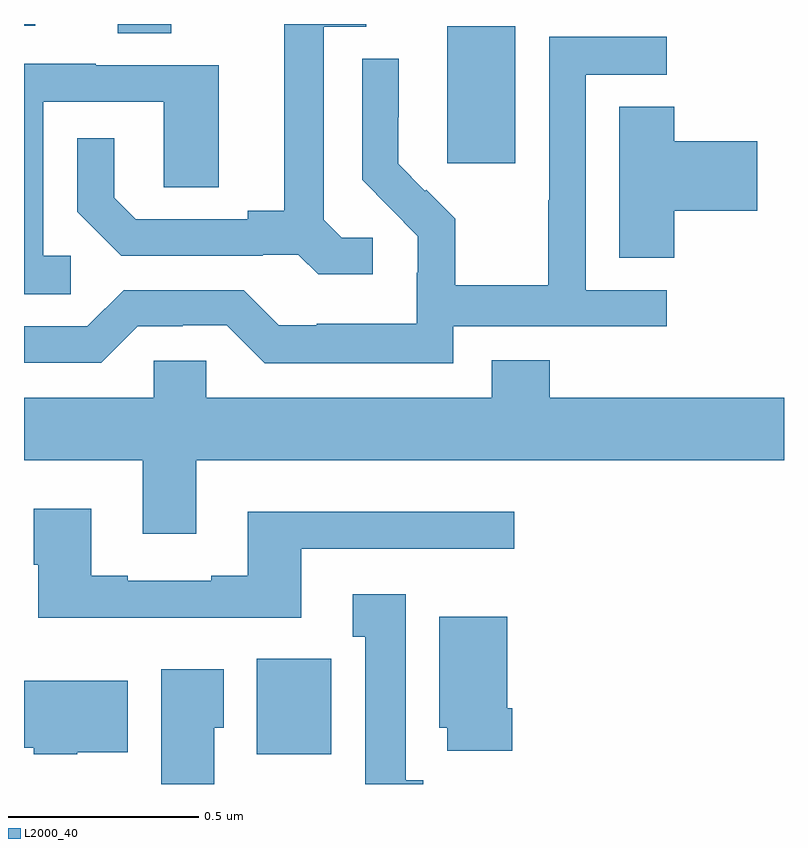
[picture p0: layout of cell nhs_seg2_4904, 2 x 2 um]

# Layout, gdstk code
import gdstk
lib = gdstk.Library(unit=1e-6, precision=1e-09)
def R(c, l, rs):  # rectangles x0, y0, x1, y1
    for r in rs: c.add(gdstk.rectangle(r[:2], r[2:], *l))
def P(c, l, *ps):  # polygons
    for p in ps: c.add(gdstk.Polygon(p, *l))
L2000_40 = (2000, 40)

nhs_seg2_4904 = lib.new_cell('nhs_seg2_4904')
R(nhs_seg2_4904, L2000_40, [(172.613,630.878,172.809,631.129), (173.114,632.433,173.293,632.794), (172.247,632.776,172.387,632.8), (172,632.796,172.03,632.8)])
P(nhs_seg2_4904, L2000_40, [(172.918,632.238),(172.836,632.238),(172.789,632.285),(172.789,632.793),(172.9,632.793),(172.9,632.8),(172.685,632.8),(172.685,632.309),(172.589,632.309),(172.589,632.286),(172.294,632.286),(172.237,632.343),(172.237,632.5),(172.14,632.5),(172.14,632.306),(172.256,632.19),(172.628,632.19),(172.628,632.193),(172.722,632.193),(172.774,632.141),(172.918,632.141)],
  [(173.13,632.004),(173.692,632.004),(173.692,632.1),(173.478,632.1),(173.478,632.667),(173.692,632.667),(173.692,632.766),(173.382,632.766),(173.382,632.336),(173.38,632.336),(173.38,632.113),(173.135,632.113),(173.135,632.287),(173.058,632.364),(173.055,632.361),(172.985,632.432),(172.985,632.554),(172.986,632.554),(172.986,632.708),(172.89,632.708),(172.89,632.39),(172.963,632.317),(172.962,632.316),(173.036,632.242),(173.036,632.145),(173.034,632.145),(173.034,632.011),(172.771,632.011),(172.771,632.007),(172.671,632.007),(172.578,632.1),(172.263,632.1),(172.167,632.004),(172,632.004),(172,631.908),(172.203,631.908),(172.299,632.004),(172.418,632.004),(172.418,632.007),(172.533,632.007),(172.633,631.907),(173.13,631.907)],
  [(172.123,632.19),(172.05,632.19),(172.05,632.595),(172.368,632.595),(172.368,632.371),(172.513,632.371),(172.513,632.691),(172.189,632.691),(172.189,632.695),(172,632.695),(172,632.089),(172.123,632.089)],
  [(173.711,632.309),(173.929,632.309),(173.929,632.492),(173.711,632.492),(173.711,632.582),(173.567,632.582),(173.567,632.185),(173.711,632.185)],
  [(172.453,631.652),(174,631.652),(174,631.816),(173.384,631.816),(173.384,631.915),(173.231,631.915),(173.231,631.816),(172.479,631.816),(172.479,631.914),(172.341,631.914),(172.341,631.816),(172,631.816),(172,631.652),(172.313,631.652),(172.313,631.458),(172.453,631.458)],
  [(172.729,631.419),(173.29,631.419),(173.29,631.516),(172.589,631.516),(172.589,631.348),(172.493,631.348),(172.493,631.335),(172.273,631.335),(172.273,631.348),(172.177,631.348),(172.177,631.525),(172.025,631.525),(172.025,631.377),(172.037,631.377),(172.037,631.238),(172.729,631.238)],
  [(173.05,630.81),(173.005,630.81),(173.005,631.3),(172.865,631.3),(172.865,631.187),(172.898,631.187),(172.898,630.8),(173.05,630.8)],
  [(173.285,631),(173.272,631),(173.272,631.24),(173.093,631.24),(173.093,630.948),(173.114,630.948),(173.114,630.888),(173.285,630.888)],
  [(172.501,630.948),(172.525,630.948),(172.525,631.102),(172.361,631.102),(172.361,630.8),(172.501,630.8)],
  [(172.14,630.884),(172.273,630.884),(172.273,631.072),(172,631.072),(172,630.896),(172.026,630.896),(172.026,630.878),(172.14,630.878)])

lib.write_gds('nhs_seg2_4904.gds')
